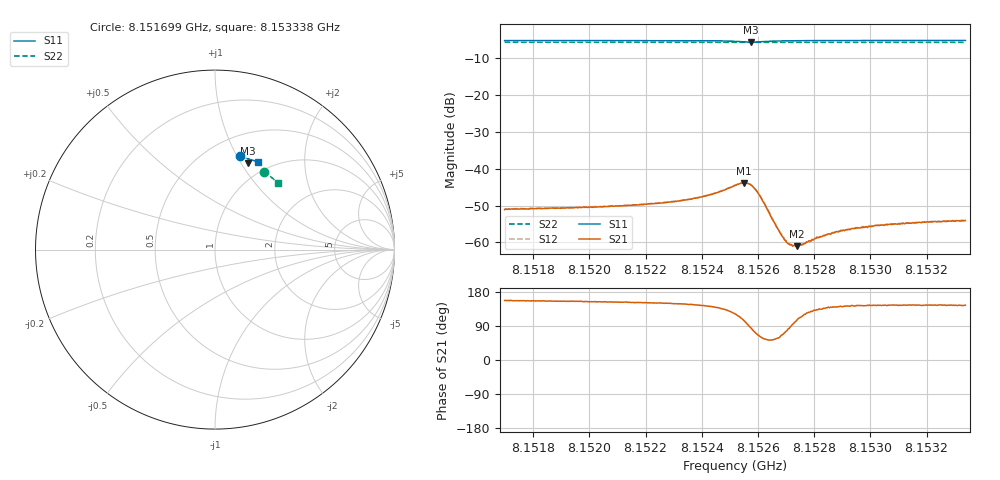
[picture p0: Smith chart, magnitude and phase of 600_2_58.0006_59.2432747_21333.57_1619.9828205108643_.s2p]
#  HZ  S  RI  R  50.00
! Rohde & Schwarz Vector Network Analyzer
! Rohde-Schwarz,ZNB20-2Port,1311601062101988,3.16
! Created: UTC 3/21/2024, 1:17:11 AM
! freq[Hz]  re:S11  im:S11  re:S21  im:S21  re:S12  im:S12  re:S22  im:S22
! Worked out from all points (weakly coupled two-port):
!   401 points, 8.151699 GHz to 8.153338 GHz, reference 50 ohm
!   highest |S21| = -43.87 dB at 8.152551 GHz (marker M1); lowest = -61.0 dB at 8.15274 GHz (marker M2)
!   lowest |S11| = -5.8 dB at 8.152576 GHz (marker M3), VSWR 3.12, Z = 41.1 + j53.7 ohm
!   |S11| at or under -10 dB: nowhere
!   |S22| runs from -5.8 to -5.8 dB; largest |S21 - S12| = 0.00012
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8.1516985e9  0.1372 0.5224  -0.00257 0.00109  -0.00261 0.00114  0.2709 0.4348
8.1519732e9  0.1565 0.5173  -0.00269 0.00127  -0.0027 0.00131  0.2855 0.4247
8.1522478e9  0.1765 0.5108  -0.00295 0.00168  -0.00294 0.00175  0.2998 0.4145
8.1523954e9  0.1888 0.5049  -0.00334 0.00241  -0.00333 0.00245  0.3074 0.4086
8.1524569e9  0.1946 0.5  -0.00355 0.00317  -0.00351 0.00327  0.3104 0.4061
8.1525184e9  0.1984 0.4895  -0.00312 0.00503  -0.0031 0.00511  0.3133 0.4032
8.1525512e9  0.1938 0.4813  -0.00145 0.00623  -0.00142 0.00628  0.3145 0.4017
8.1525758e9  0.1851 0.4803  0.000635 0.00596  0.00073 0.00596  0.3153 0.4008
8.1525881e9  0.1812 0.4828  0.0015 0.00516  0.00152 0.00522  0.3159 0.4005
8.1526045e9  0.1785 0.4879  0.00197 0.00397  0.00205 0.00398  0.3168 0.4001
8.1526742e9  0.1865 0.5003  0.000762 0.00124  0.000767 0.00125  0.3204 0.3978
8.1526947e9  0.1894 0.5012  0.000332 0.00103  0.000362 0.00104  0.3214 0.3969
8.1527029e9  0.1906 0.5014  0.000223 0.000974  0.000228 0.000996  0.322 0.3966
8.1527152e9  0.1921 0.5016  4.01e-05 0.000924  4.26e-05 0.000941  0.3225 0.3962
8.1527398e9  0.195 0.5017  -0.000248 0.000856  -0.000227 0.000878  0.3238 0.3951
8.1527603e9  0.1973 0.5015  -0.000428 0.000831  -0.000456 0.000844  0.3249 0.3942
8.152793e9  0.2005 0.5011  -0.000678 0.000863  -0.000674 0.000855  0.3265 0.3929
8.1528135e9  0.2025 0.5005  -0.000785 0.000847  -0.000788 0.000876  0.3274 0.392
8.1528996e9  0.2097 0.4986  -0.00111 0.000915  -0.00112 0.000926  0.3317 0.3884
8.1530062e9  0.2177 0.4958  -0.00134 0.000978  -0.00134 0.001  0.3366 0.3838
8.1530677e9  0.222 0.4941  -0.00144 0.00102  -0.00143 0.00105  0.3394 0.3811
8.1533383e9  0.2401 0.4863  -0.00161 0.00115  -0.0016 0.00118  0.3521 0.3692
